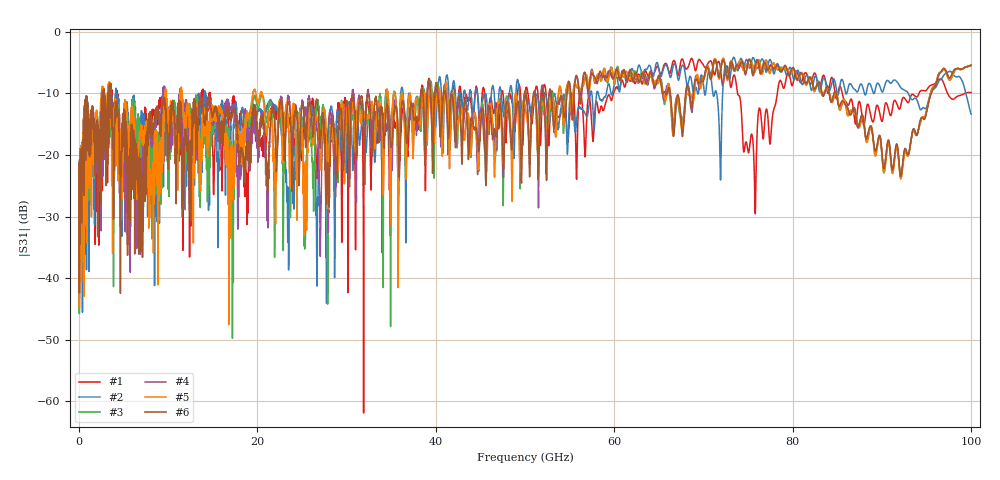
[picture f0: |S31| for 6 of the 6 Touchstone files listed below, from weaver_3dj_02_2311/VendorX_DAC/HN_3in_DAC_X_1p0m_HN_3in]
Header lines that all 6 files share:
# GHz S RI R 45
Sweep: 25 MHz to 100 GHz
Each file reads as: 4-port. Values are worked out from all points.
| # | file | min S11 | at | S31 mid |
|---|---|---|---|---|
| 1 | HN_3in_DAC_X_1p0m_HN_3in_FEXT_TP0_Tx5_to_TP5_Rx7.s4p | -41.6 dB | 7.2 GHz | -9.9 dB at 50.02 GHz |
| 2 | HN_3in_DAC_X_1p0m_HN_3in_FEXT_TP0_Tx6_to_TP5_Rx7.s4p | -42.4 dB | 8.175 GHz | -9.8 dB at 50.02 GHz |
| 3 | HN_3in_DAC_X_1p0m_HN_3in_FEXT_TP0_Tx8_to_TP5_Rx7.s4p | -53.4 dB | 12.85 GHz | -12.2 dB at 50.02 GHz |
| 4 | HN_3in_DAC_X_1p0m_HN_3in_NEXT_TP0_Tx7_to_TP5_Rx7.s4p | -45.9 dB | 21.18 GHz | -10.7 dB at 50.02 GHz |
| 5 | HN_3in_DAC_X_1p0m_HN_3in_NEXT_TP0_Tx8_to_TP5_Tx7.s4p | -43.0 dB | 1.125 GHz | -12.2 dB at 50.02 GHz |
| 6 | HN_3in_DAC_X_1p0m_HN_3in_thru_TP0_Tx7_to_TP5_Rx7.s4p | -52.1 dB | 26.12 GHz | -9.7 dB at 50.02 GHz |
